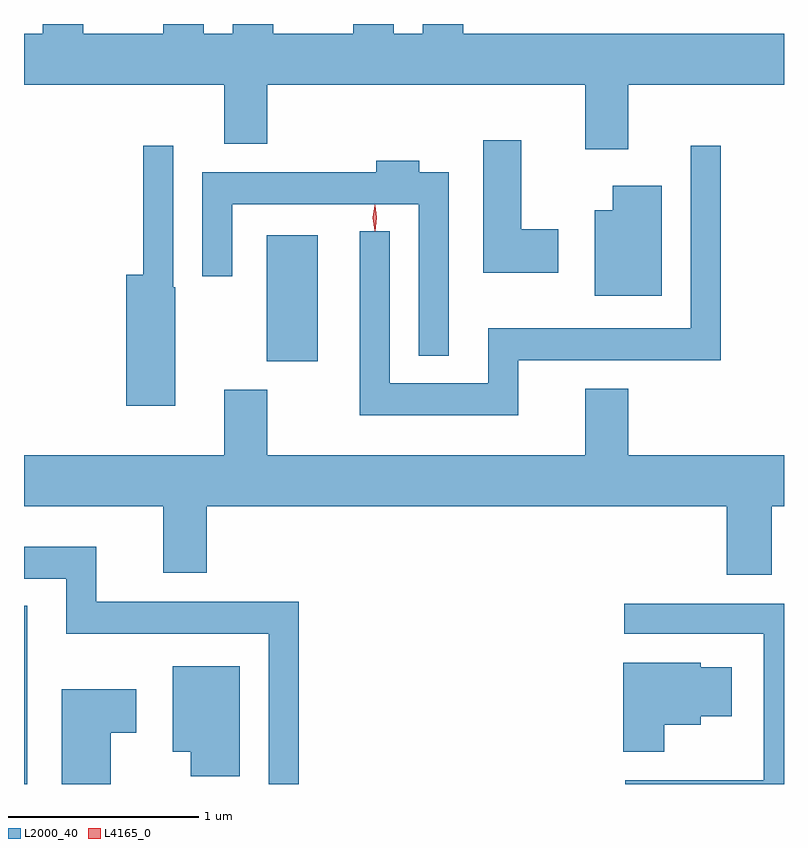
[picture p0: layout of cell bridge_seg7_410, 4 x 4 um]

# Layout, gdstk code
import gdstk
lib = gdstk.Library(unit=1e-6, precision=1e-09)
def R(c, l, rs):  # rectangles x0, y0, x1, y1
    for r in rs: c.add(gdstk.rectangle(r[:2], r[2:], *l))
def P(c, l, *ps):  # polygons
    for p in ps: c.add(gdstk.Polygon(p, *l))
L2000_40 = (2000, 40)
L4165_0 = (4165, 0)

bridge_seg7_410 = lib.new_cell('bridge_seg7_410')
R(bridge_seg7_410, L2000_40, [(1129.368,1668.455,1129.384,1669.393), (1130.646,1670.681,1130.914,1671.344)])
P(bridge_seg7_410, L2000_40, [(1132.549,1672.136),(1133.368,1672.136),(1133.368,1672.404),(1131.679,1672.404),(1131.679,1672.455),(1131.466,1672.455),(1131.466,1672.404),(1131.314,1672.404),(1131.314,1672.455),(1131.101,1672.455),(1131.101,1672.404),(1130.679,1672.404),(1130.679,1672.455),(1130.466,1672.455),(1130.466,1672.404),(1130.314,1672.404),(1130.314,1672.455),(1130.101,1672.455),(1130.101,1672.404),(1129.679,1672.404),(1129.679,1672.455),(1129.466,1672.455),(1129.466,1672.404),(1129.368,1672.404),(1129.368,1672.136),(1130.421,1672.136),(1130.421,1671.826),(1130.649,1671.826),(1130.649,1672.136),(1132.321,1672.136),(1132.321,1671.796),(1132.549,1671.796)],
  [(1132.179,1671.374),(1131.984,1671.374),(1131.984,1671.844),(1131.786,1671.844),(1131.786,1671.146),(1132.179,1671.146)],
  [(1131.969,1670.686),(1133.034,1670.686),(1133.034,1671.813),(1132.876,1671.813),(1132.876,1670.854),(1131.811,1670.854),(1131.811,1670.564),(1131.294,1670.564),(1131.294,1671.363),(1131.136,1671.363),(1131.136,1670.396),(1131.969,1670.396)],
  [(1130.164,1671.07),(1130.154,1671.07),(1130.154,1671.813),(1129.996,1671.813),(1129.996,1671.134),(1129.906,1671.134),(1129.906,1670.446),(1130.164,1670.446)],
  [(1131.604,1671.674),(1131.449,1671.674),(1131.449,1671.734),(1131.221,1671.734),(1131.221,1671.674),(1130.306,1671.674),(1130.306,1671.128),(1130.464,1671.128),(1130.464,1671.506),(1131.446,1671.506),(1131.446,1670.708),(1131.604,1670.708)],
  [(1132.724,1671.604),(1132.466,1671.604),(1132.466,1671.474),(1132.371,1671.474),(1132.371,1671.026),(1132.724,1671.026)],
  [(1133.304,1669.916),(1133.368,1669.916),(1133.368,1670.184),(1132.549,1670.184),(1132.549,1670.534),(1132.321,1670.534),(1132.321,1670.184),(1130.649,1670.184),(1130.649,1670.529),(1130.421,1670.529),(1130.421,1670.184),(1129.368,1670.184),(1129.368,1669.916),(1130.101,1669.916),(1130.101,1669.566),(1130.329,1669.566),(1130.329,1669.916),(1133.066,1669.916),(1133.066,1669.556),(1133.304,1669.556)],
  [(1130.814,1669.414),(1129.749,1669.414),(1129.749,1669.704),(1129.368,1669.704),(1129.368,1669.536),(1129.591,1669.536),(1129.591,1669.246),(1130.656,1669.246),(1130.656,1668.455),(1130.814,1668.455)],
  [(1133.368,1669.404),(1132.528,1669.404),(1132.528,1669.246),(1133.261,1669.246),(1133.261,1668.474),(1132.533,1668.474),(1132.533,1668.455),(1133.368,1668.455)],
  [(1132.739,1668.766),(1132.929,1668.766),(1132.929,1668.811),(1133.094,1668.811),(1133.094,1669.069),(1132.929,1669.069),(1132.929,1669.094),(1132.521,1669.094),(1132.521,1668.626),(1132.739,1668.626)],
  [(1130.504,1669.074),(1130.151,1669.074),(1130.151,1668.626),(1130.246,1668.626),(1130.246,1668.496),(1130.504,1668.496)],
  [(1129.824,1668.726),(1129.959,1668.726),(1129.959,1668.954),(1129.566,1668.954),(1129.566,1668.455),(1129.824,1668.455)])
P(bridge_seg7_410, L4165_0, [(1131.213,1671.367),(1131.204,1671.434),(1131.213,1671.5),(1131.214,1671.5),(1131.214,1671.5),(1131.224,1671.434),(1131.214,1671.367),(1131.214,1671.367)],
  [(1131.214,1671.364),(1131.205,1671.434),(1131.214,1671.502),(1131.215,1671.503),(1131.216,1671.502),(1131.225,1671.434),(1131.216,1671.364),(1131.215,1671.364)])

lib.write_gds('bridge_seg7_410.gds')
